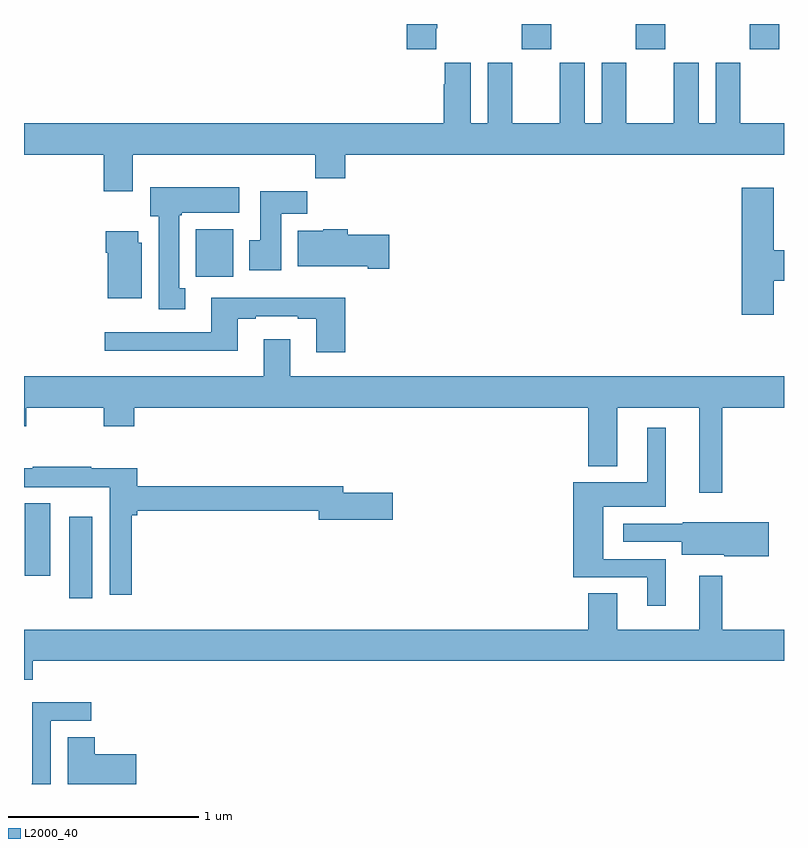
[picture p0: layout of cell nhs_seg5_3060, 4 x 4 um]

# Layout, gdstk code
import gdstk
lib = gdstk.Library(unit=1e-6, precision=1e-09)
def R(c, l, rs):  # rectangles x0, y0, x1, y1
    for r in rs: c.add(gdstk.rectangle(r[:2], r[2:], *l))
def A(c, l, x, y, w, h, nx, ny, dx, dy):  # array of equal rectangles
    R(c, l, [(x+i*dx, y+j*dy, x+i*dx+w, y+j*dy+h) for i in range(nx) for j in range(ny)])
def P(c, l, *ps):  # polygons
    for p in ps: c.add(gdstk.Polygon(p, *l))
L2000_40 = (2000, 40)

nhs_seg5_3060 = lib.new_cell('nhs_seg5_3060')
A(nhs_seg5_3060, L2000_40, 291.619, 838.665, 0.155, 0.134, 3, 1, 0.6, 0)
R(nhs_seg5_3060, L2000_40, [(289.238,835.776,289.36,836.206), (289.004,835.896,289.138,836.276), (289.905,837.468,290.101,837.718)])
P(nhs_seg5_3060, L2000_40, [(291.169,838.777),(291.174,838.777),(291.174,838.799),(291.014,838.799),(291.014,838.665),(291.169,838.665)],
  [(293,838.276),(292.771,838.276),(292.771,838.594),(292.64,838.594),(292.64,838.276),(292.552,838.276),(292.552,838.594),(292.421,838.594),(292.421,838.276),(292.171,838.276),(292.171,838.594),(292.04,838.594),(292.04,838.276),(291.952,838.276),(291.952,838.594),(291.821,838.594),(291.821,838.276),(291.571,838.276),(291.571,838.594),(291.44,838.594),(291.44,838.276),(291.352,838.276),(291.352,838.594),(291.215,838.594),(291.215,838.481),(291.209,838.481),(291.209,838.276),(289,838.276),(289,838.112),(289.421,838.112),(289.421,837.918),(289.573,837.918),(289.573,838.112),(290.533,838.112),(290.533,837.988),(290.69,837.988),(290.69,838.112),(293,838.112)],
  [(289.849,837.409),(289.816,837.409),(289.816,837.793),(289.83,837.793),(289.83,837.806),(290.134,837.806),(290.134,837.94),(289.664,837.94),(289.664,837.786),(289.709,837.786),(289.709,837.297),(289.849,837.297)],
  [(292.945,837.449),(293,837.449),(293,837.607),(292.945,837.607),(292.945,837.937),(292.778,837.937),(292.778,837.27),(292.945,837.27)],
  [(290.353,837.8),(290.492,837.8),(290.492,837.919),(290.243,837.919),(290.243,837.66),(290.186,837.66),(290.186,837.504),(290.353,837.504)],
  [(290.923,837.69),(290.705,837.69),(290.705,837.718),(290.574,837.718),(290.574,837.712),(290.441,837.712),(290.441,837.524),(290.81,837.524),(290.81,837.512),(290.923,837.512)],
  [(289.621,837.648),(289.6,837.648),(289.6,837.709),(289.43,837.709),(289.43,837.596),(289.442,837.596),(289.442,837.356),(289.621,837.356)],
  [(290.69,837.358),(289.985,837.358),(289.985,837.177),(289.425,837.177),(289.425,837.08),(290.125,837.08),(290.125,837.249),(290.221,837.249),(290.221,837.261),(290.441,837.261),(290.441,837.249),(290.537,837.249),(290.537,837.072),(290.69,837.072)],
  [(292.675,836.78),(293,836.78),(293,836.944),(290.401,836.944),(290.401,837.139),(290.261,837.139),(290.261,836.944),(289,836.944),(289,836.681),(289.011,836.681),(289.011,836.78),(289.42,836.78),(289.42,836.681),(289.58,836.681),(289.58,836.78),(291.971,836.78),(291.971,836.471),(292.123,836.471),(292.123,836.78),(292.553,836.78),(292.553,836.331),(292.675,836.331)],
  [(292.378,835.983),(292.048,835.983),(292.048,836.258),(292.378,836.258),(292.378,836.674),(292.28,836.674),(292.28,836.386),(291.89,836.386),(291.89,835.887),(292.28,835.887),(292.28,835.737),(292.378,835.737)],
  [(289.568,836.213),(289.595,836.213),(289.595,836.236),(290.552,836.236),(290.552,836.189),(290.941,836.189),(290.941,836.331),(290.68,836.331),(290.68,836.365),(289.595,836.365),(289.595,836.46),(289.355,836.46),(289.355,836.47),(289.045,836.47),(289.045,836.46),(289,836.46),(289,836.361),(289.242,836.361),(289.242,836.36),(289.452,836.36),(289.452,835.794),(289.568,835.794)],
  [(292.921,836.177),(292.467,836.177),(292.467,836.169),(292.155,836.169),(292.155,836.073),(292.463,836.073),(292.463,836.006),(292.686,836.006),(292.686,835.999),(292.921,835.999)],
  [(289.046,835.448),(293,835.448),(293,835.612),(292.675,835.612),(292.675,835.894),(292.553,835.894),(292.553,835.612),(292.123,835.612),(292.123,835.802),(291.971,835.802),(291.971,835.612),(289,835.612),(289,835.349),(289.046,835.349)],
  [(289.14,835.131),(289.354,835.131),(289.354,835.23),(289.044,835.23),(289.044,834.8),(289.042,834.8),(289.042,834.799),(289.14,834.799)],
  [(289.591,834.956),(289.373,834.956),(289.373,835.046),(289.229,835.046),(289.229,834.799),(289.591,834.799)])

lib.write_gds('nhs_seg5_3060.gds')
